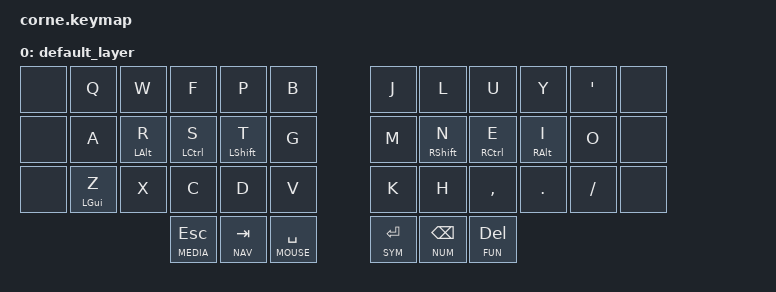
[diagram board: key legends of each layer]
/*
 * Copyright (c) 2020 The ZMK Contributors
 *
 * SPDX-License-Identifier: MIT
 */

#include <behaviors.dtsi>
#include <dt-bindings/zmk/keys.h>
#include <dt-bindings/zmk/bt.h>

#define BASE    0
#define MEDIA   1
#define NAV     2
#define MOUSE   3
#define SYM     4
#define NUM     5
#define FUN     6

#define U_NA &none

// FOR SOME REASON THUMB KEY ROWS ARE BREAKING THE build.yml LOOK INTO BOTTOM ROW KEYS

/ {
        keymap {
                compatible = "zmk,keymap";

                default_layer {
                        bindings = <
        U_NA            &kp Q           &kp W           &kp F           &kp P           &kp B                           &kp J           &kp L           &kp U           &kp Y           &kp SQT         U_NA
        U_NA            &kp A           &mt LALT R      &mt LCTRL S     &mt LSHFT T     &kp G                           &kp M           &mt RSHFT N     &mt RCTRL E     &mt RALT I      &kp O           U_NA
        U_NA            &mt LGUI Z      &kp X           &kp C           &kp D           &kp V                           &kp K           &kp H           &kp COMMA       &kp PERIOD      &kp FSLH        U_NA
                                                        &mt MEDIA ESC   &mt NAV TAB     &mt MOUSE SPACE                 &mt SYM RET     &mt NUM BSPC    &mt FUN DEL          
                        >;
                };
        };
};
